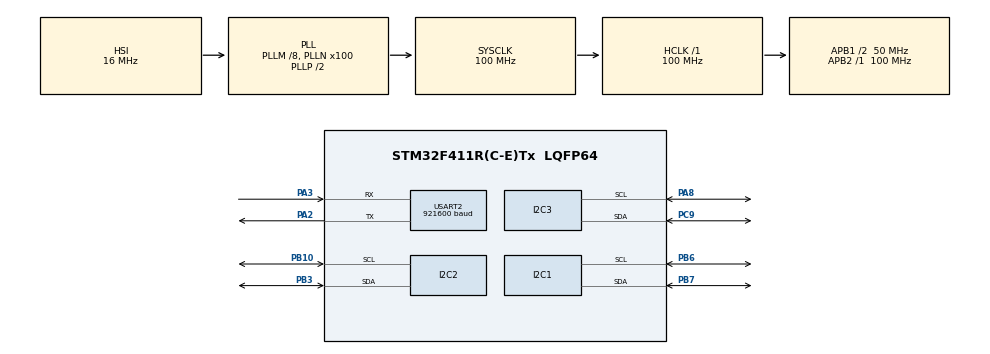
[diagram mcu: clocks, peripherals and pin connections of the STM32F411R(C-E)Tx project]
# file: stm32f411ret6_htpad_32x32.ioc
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Dma.Request0=USART2_RX
Dma.USART2_RX.0.Direction=DMA_PERIPH_TO_MEMORY
Dma.USART2_RX.0.FIFOMode=DMA_FIFOMODE_DISABLE
Dma.USART2_RX.0.Instance=DMA1_Stream5
Dma.USART2_RX.0.MemDataAlignment=DMA_MDATAALIGN_BYTE
Dma.USART2_RX.0.MemInc=DMA_MINC_ENABLE
Dma.USART2_RX.0.Mode=DMA_NORMAL
Dma.USART2_RX.0.PeriphDataAlignment=DMA_PDATAALIGN_BYTE
Dma.USART2_RX.0.PeriphInc=DMA_PINC_DISABLE
Dma.USART2_RX.0.Priority=DMA_PRIORITY_LOW
I2C1.I2C_Mode=I2C_Fast
I2C2.I2C_Mode=I2C_Fast
I2C3.I2C_Mode=I2C_Fast
Mcu.Family=STM32F4
Mcu.Name=STM32F411R(C-E)Tx
Mcu.Package=LQFP64
NVIC.DMA1_Stream5_IRQn=true\:0\:0\:false\:false\:true\:false\:true\:true
NVIC.PriorityGroup=NVIC_PRIORITYGROUP_4
NVIC.TIM2_IRQn=true\:0\:0\:false\:false\:true\:true\:true\:true
NVIC.TIM3_IRQn=true\:0\:0\:false\:false\:true\:true\:true\:true
NVIC.TIM4_IRQn=true\:0\:0\:false\:false\:true\:true\:true\:true
NVIC.USART2_IRQn=true\:0\:0\:false\:false\:true\:true\:true\:true
PA2.Mode=Asynchronous
PA2.Signal=USART2_TX
PA3.Mode=Asynchronous
PA3.Signal=USART2_RX
PA8.GPIO_Pu=GPIO_NOPULL
PA8.Mode=I2C
PA8.Signal=I2C3_SCL
PB10.GPIO_Pu=GPIO_NOPULL
PB10.Mode=I2C
PB10.Signal=I2C2_SCL
PB3.GPIO_Pu=GPIO_NOPULL
PB3.Mode=I2C
PB3.Signal=I2C2_SDA
PB6.GPIO_Pu=GPIO_NOPULL
PB6.Mode=I2C
PB6.Signal=I2C1_SCL
PB7.GPIO_Pu=GPIO_NOPULL
PB7.Mode=I2C
PB7.Signal=I2C1_SDA
PC9.GPIO_Pu=GPIO_NOPULL
PC9.Mode=I2C
PC9.Signal=I2C3_SDA
ProjectManager.HeapSize=0x200
ProjectManager.StackSize=0x400
ProjectManager.TargetToolchain=STM32CubeIDE
RCC.48MHZClocksFreq_Value=50000000
RCC.AHBFreq_Value=100000000
RCC.APB1CLKDivider=RCC_HCLK_DIV2
RCC.APB1Freq_Value=50000000
RCC.APB1TimFreq_Value=100000000
RCC.APB2Freq_Value=100000000
RCC.APB2TimFreq_Value=100000000
RCC.CortexFreq_Value=100000000
RCC.HCLKFreq_Value=100000000
RCC.HSE_VALUE=25000000
RCC.HSI_VALUE=16000000
RCC.LSE_VALUE=32768
RCC.PLLM=8
RCC.PLLN=100
RCC.SYSCLKFreq_VALUE=100000000
RCC.SYSCLKSource=RCC_SYSCLKSOURCE_PLLCLK
RCC.VCOOutputFreq_Value=200000000
TIM2.Period=65535
TIM2.Prescaler=100
TIM3.Prescaler=100
TIM4.Prescaler=100
USART2.BaudRate=921600
USART2.VirtualMode=VM_ASYNC
VP_TIM2_VS_ClockSourceINT.Mode=Internal
VP_TIM3_VS_ClockSourceINT.Mode=Internal
VP_TIM4_VS_ClockSourceINT.Mode=Internal
board=custom

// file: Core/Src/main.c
/* USER CODE BEGIN Header */
/**
  ******************************************************************************
  * @file           : main.c
  * @brief          : Main program body
  ******************************************************************************
  * @attention
  *
  * Copyright (c) 2025 STMicroelectronics.
  * All rights reserved.
  *
  * This software is licensed under terms that can be found in the LICENSE file
  * in the root directory of this software component.
  * If no LICENSE file comes with this software, it is provided AS-IS.
  *
  ******************************************************************************
  */
/* USER CODE END Header */
#include "main.h"
#include "dma.h"
#include "i2c.h"
#include "tim.h"
#include "usart.h"
#include "gpio.h"

/* USER CODE BEGIN Includes */
#include "htpad_32x32.h"
#include <stdio.h>
#include "uart_printf.h"
/* USER CODE END Includes */

void SystemClock_Config(void);

/* USER CODE BEGIN 0 */
extern I2C_HandleTypeDef hi2c1;
extern TIM_HandleTypeDef htim2;
extern I2C_HandleTypeDef hi2c2;
extern TIM_HandleTypeDef htim3;
extern I2C_HandleTypeDef hi2c3;
extern TIM_HandleTypeDef htim4;
htpad_t htpad1 = {
	.pve_buf =
	{
	   .new_offsets = 1
	},
	.var_ctrl =
	{
	  .ReadingRoutineEnable = 1,
	  .read_block_num = START_WITH_BLOCK
	},
   .hi2c = &hi2c1,
   .htim = &htim2,
};
htpad_t htpad2 = {
	.pve_buf =
	{
	   .new_offsets = 1
	},
	.var_ctrl =
	{
	  .ReadingRoutineEnable = 1,
	  .read_block_num = START_WITH_BLOCK
	},
   .hi2c = &hi2c2,
   .htim = &htim3,
};
htpad_t htpad3 = {
	.pve_buf =
	{
	   .new_offsets = 1
	},
	.var_ctrl =
	{
	  .ReadingRoutineEnable = 1,
	  .read_block_num = START_WITH_BLOCK
	},
   .hi2c = &hi2c3,
   .htim = &htim4,
};
char serial_input = 'm';

uint8_t getserial(void)
{
  uint8_t print_state = 0;
  uint8_t serial_input = 'm';
  if(serial_available())
  {
	  serial_input = serial_read();
  }else
  {
	  return 0;
  }
  switch (serial_input)
  {
    case 0xFF:
      //nothing
      break;

    case 'a':
        print_state = 1;
      break;
    case 'b':
        print_state = 2;
      break;

    case 'c':
        print_state = 3;
      break;
  }
  return print_state;
}
/* USER CODE END 0 */

int main(void)
{

  /* MCU Configuration--------------------------------------------------------*/

  /* Reset of all peripherals, Initializes the Flash interface and the Systick. */
  HAL_Init();

  /* Configure the system clock */
  SystemClock_Config();

  /* Initialize all configured peripherals */
  MX_GPIO_Init();
  MX_DMA_Init();
  MX_I2C1_Init();
  MX_I2C2_Init();
  MX_I2C3_Init();
  MX_TIM3_Init();
  MX_USART2_UART_Init();
  MX_TIM2_Init();
  MX_TIM4_Init();
  /* USER CODE BEGIN 2 */
  printf("Application start!\n");
  uart_start_receive();

  setup(&htpad1);
  setup(&htpad2);
  setup(&htpad3);

  print_menu();

  /* USER CODE END 2 */

  /* Infinite loop */
  /* USER CODE BEGIN WHILE */
  while (1)
  {
	 uint8_t print_state = getserial();
     if(print_state)
     {
    	 htpad1.var_ctrl.print_state = print_state;
    	 htpad2.var_ctrl.print_state = print_state;
    	 htpad3.var_ctrl.print_state = print_state;
     }
	 loop(&htpad1);
	 loop(&htpad2);
	 loop(&htpad3);
    /* USER CODE END WHILE */

  }
}

void SystemClock_Config(void)
{
  RCC_OscInitTypeDef RCC_OscInitStruct = {0};
  RCC_ClkInitTypeDef RCC_ClkInitStruct = {0};

  /** Configure the main internal regulator output voltage
  */
  __HAL_RCC_PWR_CLK_ENABLE();
  __HAL_PWR_VOLTAGESCALING_CONFIG(PWR_REGULATOR_VOLTAGE_SCALE1);

  /** Initializes the RCC Oscillators according to the specified parameters
  * in the RCC_OscInitTypeDef structure.
  */
  RCC_OscInitStruct.OscillatorType = RCC_OSCILLATORTYPE_HSI;
  RCC_OscInitStruct.HSIState = RCC_HSI_ON;
  RCC_OscInitStruct.HSICalibrationValue = RCC_HSICALIBRATION_DEFAULT;
  RCC_OscInitStruct.PLL.PLLState = RCC_PLL_ON;
  RCC_OscInitStruct.PLL.PLLSource = RCC_PLLSOURCE_HSI;
  RCC_OscInitStruct.PLL.PLLM = 8;
  RCC_OscInitStruct.PLL.PLLN = 100;
  RCC_OscInitStruct.PLL.PLLP = RCC_PLLP_DIV2;
  RCC_OscInitStruct.PLL.PLLQ = 4;
  if (HAL_RCC_OscConfig(&RCC_OscInitStruct) != HAL_OK)
  {
    Error_Handler();
  }

  /** Initializes the CPU, AHB and APB buses clocks
  */
  RCC_ClkInitStruct.ClockType = RCC_CLOCKTYPE_HCLK|RCC_CLOCKTYPE_SYSCLK
                              |RCC_CLOCKTYPE_PCLK1|RCC_CLOCKTYPE_PCLK2;
  RCC_ClkInitStruct.SYSCLKSource = RCC_SYSCLKSOURCE_PLLCLK;
  RCC_ClkInitStruct.AHBCLKDivider = RCC_SYSCLK_DIV1;
  RCC_ClkInitStruct.APB1CLKDivider = RCC_HCLK_DIV2;
  RCC_ClkInitStruct.APB2CLKDivider = RCC_HCLK_DIV1;

  if (HAL_RCC_ClockConfig(&RCC_ClkInitStruct, FLASH_LATENCY_3) != HAL_OK)
  {
    Error_Handler();
  }
}

/* USER CODE BEGIN 4 */

void HAL_TIM_PeriodElapsedCallback(TIM_HandleTypeDef *htim)
{
    if (htim->Instance == htpad1.htim->Instance)
    {
     // Called when TIM3 reaches its period and overflows
  	  // read new sensor data
		if (htpad1.var_ctrl.ReadingRoutineEnable)
		{
		/*
		   HINT:
		   this interrupt service routine set a flag called NedDataAvailable.
		   This flag will be checked in the main loop. If this flag is set, the main loop will call
		   the function to read the new sensor data and reset this flag and the timer. I go that way
		   because the ESP32 cannot read I2C data directly in the TimerISR. If your µC can handle I2C in
		   an interrupt,please read the new sensor volatges direclty in the TimerISR.
		*/
			htpad1.var_ctrl.NewDataAvailable = 1;
		}
    }else if (htim->Instance == htpad2.htim->Instance)
    {
	  // Called when TIM3 reaches its period and overflows
	  // read new sensor data
		if (htpad2.var_ctrl.ReadingRoutineEnable)
		{
		/*
		   HINT:
		   this interrupt service routine set a flag called NedDataAvailable.
		   This flag will be checked in the main loop. If this flag is set, the main loop will call
		   the function to read the new sensor data and reset this flag and the timer. I go that way
		   because the ESP32 cannot read I2C data directly in the TimerISR. If your µC can handle I2C in
		   an interrupt,please read the new sensor volatges direclty in the TimerISR.
		*/
			htpad2.var_ctrl.NewDataAvailable = 1;
		}
    }else if (htim->Instance == htpad3.htim->Instance)
    {
  	  // Called when TIM3 reaches its period and overflows
  	  // read new sensor data
  		if (htpad3.var_ctrl.ReadingRoutineEnable)
  		{
  		/*
  		   HINT:
  		   this interrupt service routine set a flag called NedDataAvailable.
  		   This flag will be checked in the main loop. If this flag is set, the main loop will call
  		   the function to read the new sensor data and reset this flag and the timer. I go that way
  		   because the ESP32 cannot read I2C data directly in the TimerISR. If your µC can handle I2C in
  		   an interrupt,please read the new sensor volatges direclty in the TimerISR.
  		*/
  			htpad3.var_ctrl.NewDataAvailable = 1;
  		}
    }
}

/* USER CODE END 4 */

void Error_Handler(void)
{
  __disable_irq();
  while (1)
  {
  }
}
